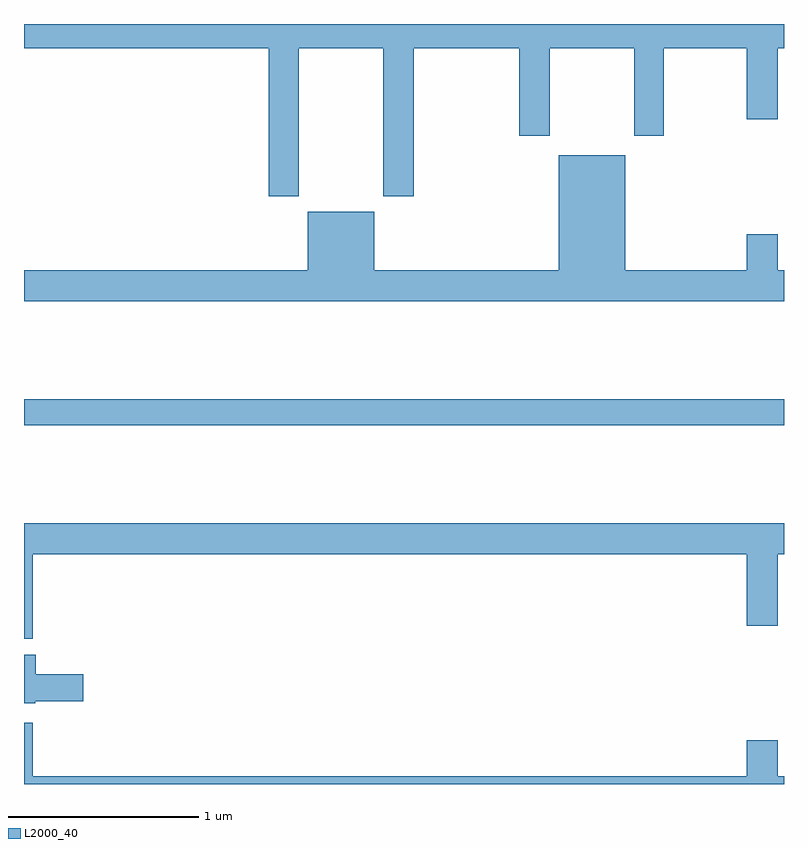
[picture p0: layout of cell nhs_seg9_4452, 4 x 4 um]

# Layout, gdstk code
import gdstk
lib = gdstk.Library(unit=1e-6, precision=1e-09)
def R(c, l, rs):  # rectangles x0, y0, x1, y1
    for r in rs: c.add(gdstk.rectangle(r[:2], r[2:], *l))
def P(c, l, *ps):  # polygons
    for p in ps: c.add(gdstk.Polygon(p, *l))
L2000_40 = (2000, 40)

nhs_seg9_4452 = lib.new_cell('nhs_seg9_4452')
R(nhs_seg9_4452, L2000_40, [(365,1242.388,369,1242.524)])
P(nhs_seg9_4452, L2000_40, [(366.447,1244.372),(366.892,1244.372),(366.892,1243.593),(367.052,1243.593),(367.052,1244.372),(367.607,1244.372),(367.607,1243.911),(367.767,1243.911),(367.767,1244.372),(368.212,1244.372),(368.212,1243.911),(368.367,1243.911),(368.367,1244.372),(368.804,1244.372),(368.804,1243.998),(368.968,1243.998),(368.968,1244.372),(369,1244.372),(369,1244.5),(365,1244.5),(365,1244.372),(366.287,1244.372),(366.287,1243.593),(366.447,1243.593)],
  [(369,1243.204),(368.968,1243.204),(368.968,1243.393),(368.804,1243.393),(368.804,1243.204),(368.164,1243.204),(368.164,1243.81),(367.814,1243.81),(367.814,1243.204),(366.844,1243.204),(366.844,1243.513),(366.494,1243.513),(366.494,1243.204),(365,1243.204),(365,1243.04),(369,1243.04)],
  [(365.047,1241.708),(368.804,1241.708),(368.804,1241.334),(368.968,1241.334),(368.968,1241.708),(369,1241.708),(369,1241.872),(365,1241.872),(365,1241.264),(365.047,1241.264)],
  [(365.058,1240.936),(365.311,1240.936),(365.311,1241.078),(365.062,1241.078),(365.062,1241.179),(365,1241.179),(365,1240.925),(365.058,1240.925)],
  [(369,1240.54),(368.968,1240.54),(368.968,1240.729),(368.804,1240.729),(368.804,1240.54),(365.047,1240.54),(365.047,1240.822),(365,1240.822),(365,1240.5),(369,1240.5)])

lib.write_gds('nhs_seg9_4452.gds')
